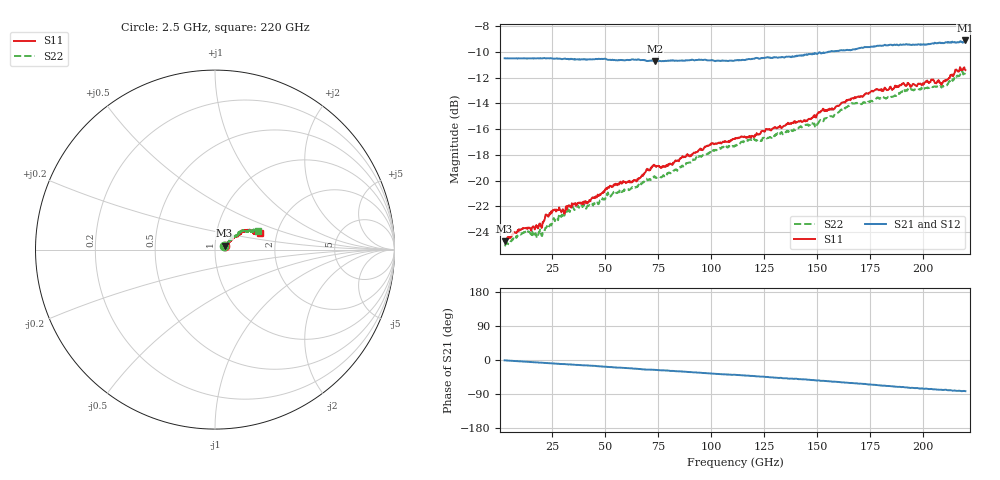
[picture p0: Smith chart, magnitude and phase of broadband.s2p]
!Created with skrf (http://scikit-rf.org).
# Hz S RI R 50.0
!freq ReS11 ImS11 ReS21 ImS21 ReS12 ImS12 ReS22 ImS22
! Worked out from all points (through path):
!   871 points, 2.5 GHz to 220 GHz, reference 50 ohm
!   highest |S21| = -9.11 dB at 220 GHz (marker M1); lowest = -10.7 dB at 73.5 GHz (marker M2)
!   group delay of S21, straight-line fit = 1.04 ps
!   lowest |S11| = -24.7 dB at 2.5 GHz (marker M3), VSWR 1.12, Z = 55.6 + j2.52 ohm
!   |S11| at or under -10 dB: start of sweep to end of sweep
!   |S22| runs from -25.1 to -11.5 dB; largest |S21 - S12| = 0.013
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2.5e9  0.0536 0.0226  0.2988 -0.00489  0.2986 -0.00572  0.0512 0.0218
1.2e10  0.063 0.0172  0.2975 -0.0221  0.2985 -0.0219  0.0605 0.0171
1.725e10  0.0631 0.0223  0.2966 -0.0315  0.2975 -0.0315  0.0594 0.0177
2.05e10  0.0635 0.0271  0.2966 -0.0372  0.2976 -0.0371  0.0585 0.0229
2.55e10  0.0695 0.0323  0.294 -0.0472  0.2951 -0.0476  0.0647 0.0289
3.025e10  0.0693 0.031  0.2923 -0.0555  0.2925 -0.0561  0.0656 0.0311
3.4e10  0.0716 0.0323  0.2907 -0.0626  0.2912 -0.0627  0.071 0.0346
3.875e10  0.0745 0.0325  0.288 -0.0678  0.2879 -0.0704  0.0718 0.035
5.2e10  0.0825 0.0469  0.2791 -0.0947  0.2807 -0.0956  0.0784 0.0421
6.55e10  0.0847 0.055  0.2713 -0.1182  0.2728 -0.1175  0.0795 0.0525
7.35e10  0.0979 0.0585  0.2609 -0.1283  0.2611 -0.1281  0.0873 0.0551
7.5e10  0.098 0.0584  0.2604 -0.131  0.2619 -0.1302  0.0871 0.0552
8.125e10  0.098 0.0611  0.257 -0.141  0.2575 -0.1395  0.0893 0.0603
1.0125e11  0.1181 0.0723  0.2356 -0.1738  0.2349 -0.177  0.1079 0.0754
1.1125e11  0.1241 0.0771  0.228 -0.1847  0.2258 -0.1885  0.1143 0.0758
1.475e11  0.1447 0.0973  0.1866 -0.2469  0.1849 -0.2487  0.1372 0.0945
1.665e11  0.1781 0.1097  0.1574 -0.2815  0.1551 -0.2853  0.1677 0.1085
1.8375e11  0.2025 0.1001  0.1225 -0.3134  0.1193 -0.3149  0.1847 0.1027
1.93e11  0.2213 0.092  0.1002 -0.3227  0.096 -0.3231  0.1989 0.1039
2.0875e11  0.2181 0.0891  0.0679 -0.336  0.0617 -0.3352  0.2065 0.1011
2.1475e11  0.2375 0.1059  0.0578 -0.3399  0.0485 -0.3411  0.2223 0.1139
2.2e11  0.2522 0.0935  0.0475 -0.3472  0.0369 -0.3467  0.2397 0.1051
